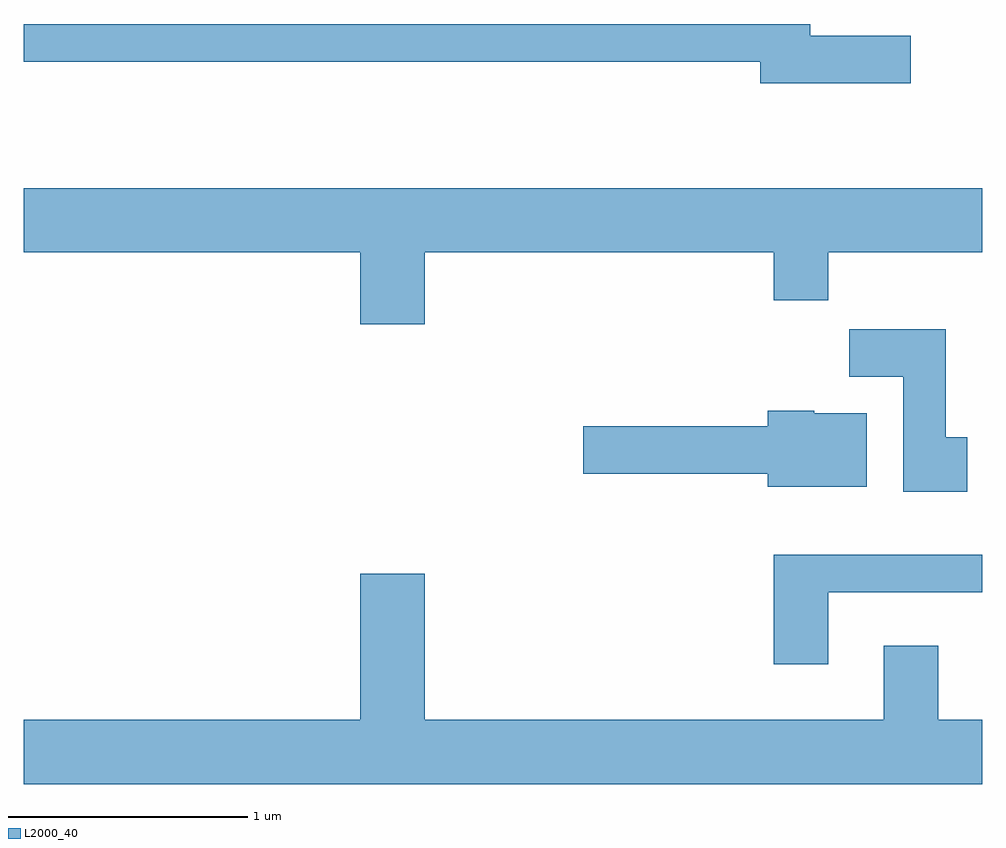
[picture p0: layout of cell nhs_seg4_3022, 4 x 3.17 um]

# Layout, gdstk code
import gdstk
lib = gdstk.Library(unit=1e-6, precision=1e-09)
def P(c, l, *ps):  # polygons
    for p in ps: c.add(gdstk.Polygon(p, *l))
L2000_40 = (2000, 40)

nhs_seg4_3022 = lib.new_cell('nhs_seg4_3022')
P(nhs_seg4_3022, L2000_40, [(277.314,1317.839),(276.894,1317.839),(276.894,1317.889),(273.611,1317.889),(273.611,1317.731),(276.686,1317.731),(276.686,1317.641),(277.314,1317.641)],
  [(275.284,1316.936),(276.741,1316.936),(276.741,1316.736),(276.969,1316.736),(276.969,1316.936),(277.611,1316.936),(277.611,1317.204),(273.611,1317.204),(273.611,1316.936),(275.016,1316.936),(275.016,1316.636),(275.284,1316.636)],
  [(277.549,1316.164),(277.459,1316.164),(277.459,1316.614),(277.056,1316.614),(277.056,1316.416),(277.281,1316.416),(277.281,1315.936),(277.549,1315.936)],
  [(277.129,1316.264),(276.91,1316.264),(276.91,1316.274),(276.716,1316.274),(276.716,1316.209),(275.946,1316.209),(275.946,1316.011),(276.716,1316.011),(276.716,1315.956),(277.129,1315.956)],
  [(276.969,1315.516),(277.611,1315.516),(277.611,1315.674),(276.741,1315.674),(276.741,1315.216),(276.969,1315.216)],
  [(277.611,1314.984),(277.429,1314.984),(277.429,1315.294),(277.201,1315.294),(277.201,1314.984),(275.284,1314.984),(275.284,1315.594),(275.016,1315.594),(275.016,1314.984),(273.611,1314.984),(273.611,1314.716),(277.611,1314.716)])

lib.write_gds('nhs_seg4_3022.gds')
